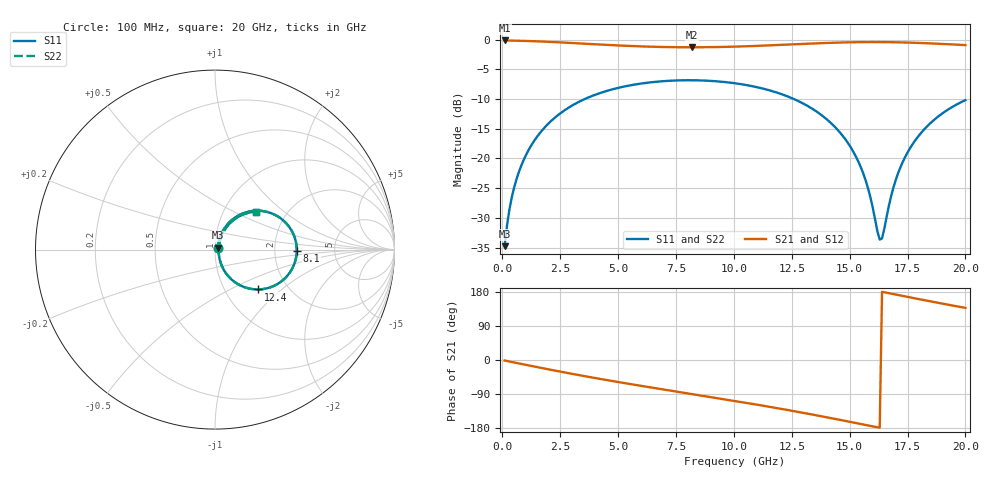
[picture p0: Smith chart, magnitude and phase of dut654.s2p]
! Touchstone file exported from HFSS 2026.1.0
!  File:  C:/ffzhzh/LocalFiles/Ansys_Project_Files/temp_train_TSV_RDL_654_1783129789_53076.aedt
!  Generated:  09:59:35 AM Jul  4, 2026
!  Design:  TSV_RDL
!  Project:  temp_train_TSV_RDL_654_1783129789_53076
! Variables:
!  h_bsmrdl = 5.17um
!  h_ox = 20um
!  h_rdl = 5um
!  h_sub = 94.14um
!  h_tmrdl = 4.08um
!  h_tsv = 94.14um
!  h_via = 3um
!  l_bsmrdl = 445.03um
!  l_sub = 3459.45um
!  l_tmrdl = 403.19um
!  m_sub = 200um
!  pitch = 43.72um
!  r_tsv = 10.28um
!  s_tmrdl = 10um
!  w_bsmrdl = 13.01um
!  w_sub = 500um
!  w_tmrdl = 24.19um
!  x_tsv_center1 = 415.285um
!  x_tsv_center2 = 873.325um
!  x_tsv_center3 = 1300.705um
!  x_tsv_center4 = 1758.745um
!  x_tsv_center5 = 2186.125um
!  x_tsv_center6 = 2644.165um
# GHz S MA R 50.000000
! Terminal data exported
! Port[1] = TM_RDL1_1_T1
! Port[2] = TM_RDL5_1_T1
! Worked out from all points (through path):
!   200 points, 100 MHz to 20 GHz, reference 50 ohm
!   highest |S21| = -0.13 dB at 100 MHz (marker M1); lowest = -1.3 dB at 8.2 GHz (marker M2)
!   group delay of S21, straight-line fit = 30.1 ps
!   lowest |S11| = -34.8 dB at 100 MHz (marker M3), VSWR 1.04, Z = 51.5 + j1.13 ohm
!   |S11| at or under -10 dB: start of sweep to 3.558 GHz; 12.6 GHz to end of sweep
!   |S22| runs from -34.8 to -6.8 dB; largest |S21 - S12| = 6e-14
!   S11 on the Smith chart (normalised r, x): 100 MHz: 1.03, +0.02; 8.1 GHz: 2.67, -0.06; 12.4 GHz: 1.43, -0.71; 20 GHz: 1.41, +0.66
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0.1  0.01825 37.1  0.9856 -1.3  0.9856 -1.3  0.01825 37.1
! Gamma 0 0 0 0
! Port Impedance 50 0 50 0
0.3  0.0364 60.7  0.9838 -3.9  0.9838 -3.9  0.0364 60.7
0.5  0.05585 66.3  0.9818 -6.4  0.9818 -6.4  0.05585 66.3
1.1  0.1143 67.0  0.9751 -13.8  0.9751 -13.8  0.1143 67.0
2.1  0.2061 58.5  0.9583 -25.9  0.9583 -25.9  0.2061 58.5
3.5  0.3125 43.9  0.927 -42.0  0.927 -42.0  0.3125 43.9
6.8  0.4452 11.1  0.8693 -76.2  0.8693 -76.2  0.4452 11.1
8.1  0.4557 -1.1  0.8633 -88.9  0.8633 -88.9  0.4557 -1.1
8.2  0.4556 -2.0  0.8633 -89.9  0.8633 -89.9  0.4556 -2.0
10.1  0.4284 -19.9  0.875 -108.6  0.875 -108.6  0.4283 -19.9
12.4  0.3284 -42.5  0.9115 -132.8  0.9115 -132.8  0.3283 -42.5
13.4  0.2612 -52.6  0.9294 -144.1  0.9294 -144.1  0.2612 -52.5
14.5  0.1726 -62.8  0.9457 -157.0  0.9457 -157.0  0.1726 -62.7
15.3  0.1012 -67.3  0.9532 -166.6  0.9532 -166.6  0.1012 -67.2
15.8  0.05565 -63.4  0.9553 -172.7  0.9553 -172.7  0.05569 -63.1
16.3  0.02072 -11.2  0.9552 -178.8  0.9552 -178.8  0.02097 -10.9
16.4  0.02122 14.1  0.9549 180.0  0.9549 180.0  0.02149 14.1
16.7  0.04029 54.0  0.9536 176.3  0.9536 176.3  0.04047 53.7
17.2  0.08477 64.5  0.9497 170.2  0.9497 170.2  0.08489 64.4
17.8  0.1391 63.0  0.9425 163.0  0.9425 163.0  0.1391 62.9
18.7  0.2156 55.6  0.9274 152.3  0.9274 152.3  0.2157 55.6
20  0.3097 43.0  0.9009 137.6  0.9009 137.6  0.3098 43.0
